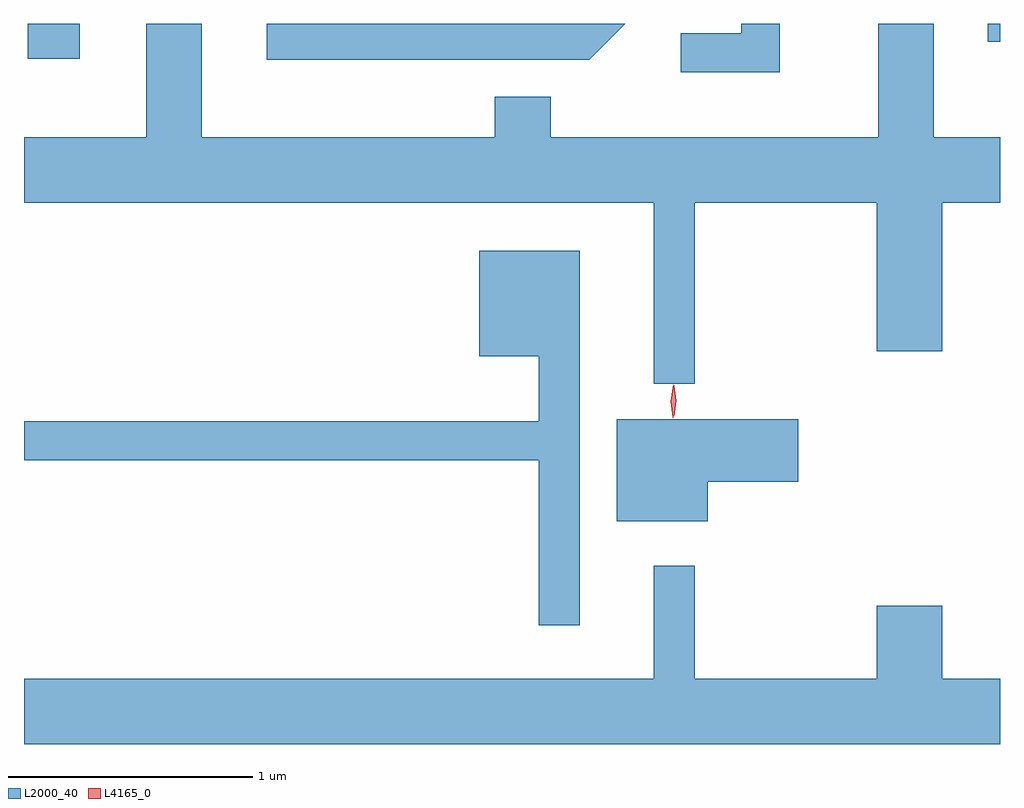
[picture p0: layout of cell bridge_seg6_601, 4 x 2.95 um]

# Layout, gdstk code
import gdstk
lib = gdstk.Library(unit=1e-6, precision=1e-09)
def R(c, l, rs):  # rectangles x0, y0, x1, y1
    for r in rs: c.add(gdstk.rectangle(r[:2], r[2:], *l))
def P(c, l, *ps):  # polygons
    for p in ps: c.add(gdstk.Polygon(p, *l))
L2000_40 = (2000, 40)
L4165_0 = (4165, 0)

bridge_seg6_601 = lib.new_cell('bridge_seg6_601')
R(bridge_seg6_601, L2000_40, [(571.236,1617.226,571.449,1617.369), (575.171,1617.296,575.221,1617.369)])
P(bridge_seg6_601, L2000_40, [(573.969,1616.636),(574.716,1616.636),(574.716,1616.026),(574.984,1616.026),(574.984,1616.636),(575.221,1616.636),(575.221,1616.904),(574.949,1616.904),(574.949,1617.369),(574.721,1617.369),(574.721,1616.904),(573.379,1616.904),(573.379,1617.069),(573.151,1617.069),(573.151,1616.904),(571.949,1616.904),(571.949,1617.369),(571.721,1617.369),(571.721,1616.904),(571.221,1616.904),(571.221,1616.636),(573.801,1616.636),(573.801,1615.893),(573.969,1615.893)],
  [(574.319,1617.369),(574.161,1617.369),(574.161,1617.329),(573.913,1617.329),(573.913,1617.171),(574.319,1617.171)],
  [(573.685,1617.369),(572.216,1617.369),(572.216,1617.221),(573.537,1617.221)],
  [(573.499,1616.439),(573.086,1616.439),(573.086,1616.006),(573.331,1616.006),(573.331,1615.739),(571.221,1615.739),(571.221,1615.581),(573.331,1615.581),(573.331,1614.903),(573.499,1614.903)],
  [(574.024,1615.491),(574.394,1615.491),(574.394,1615.749),(573.651,1615.749),(573.651,1615.331),(574.024,1615.331)],
  [(575.221,1614.684),(574.984,1614.684),(574.984,1614.984),(574.716,1614.984),(574.716,1614.684),(573.969,1614.684),(573.969,1615.148),(573.801,1615.148),(573.801,1614.684),(571.221,1614.684),(571.221,1614.416),(575.221,1614.416)])
P(bridge_seg6_601, L4165_0, [(573.885,1615.76),(573.885,1615.76),(573.875,1615.823),(573.884,1615.886),(573.885,1615.887),(573.885,1615.886),(573.895,1615.823),(573.886,1615.76)],
  [(573.88,1615.754),(573.88,1615.754),(573.871,1615.822),(573.881,1615.89),(573.882,1615.89),(573.882,1615.89),(573.891,1615.822),(573.881,1615.754)])

lib.write_gds('bridge_seg6_601.gds')
